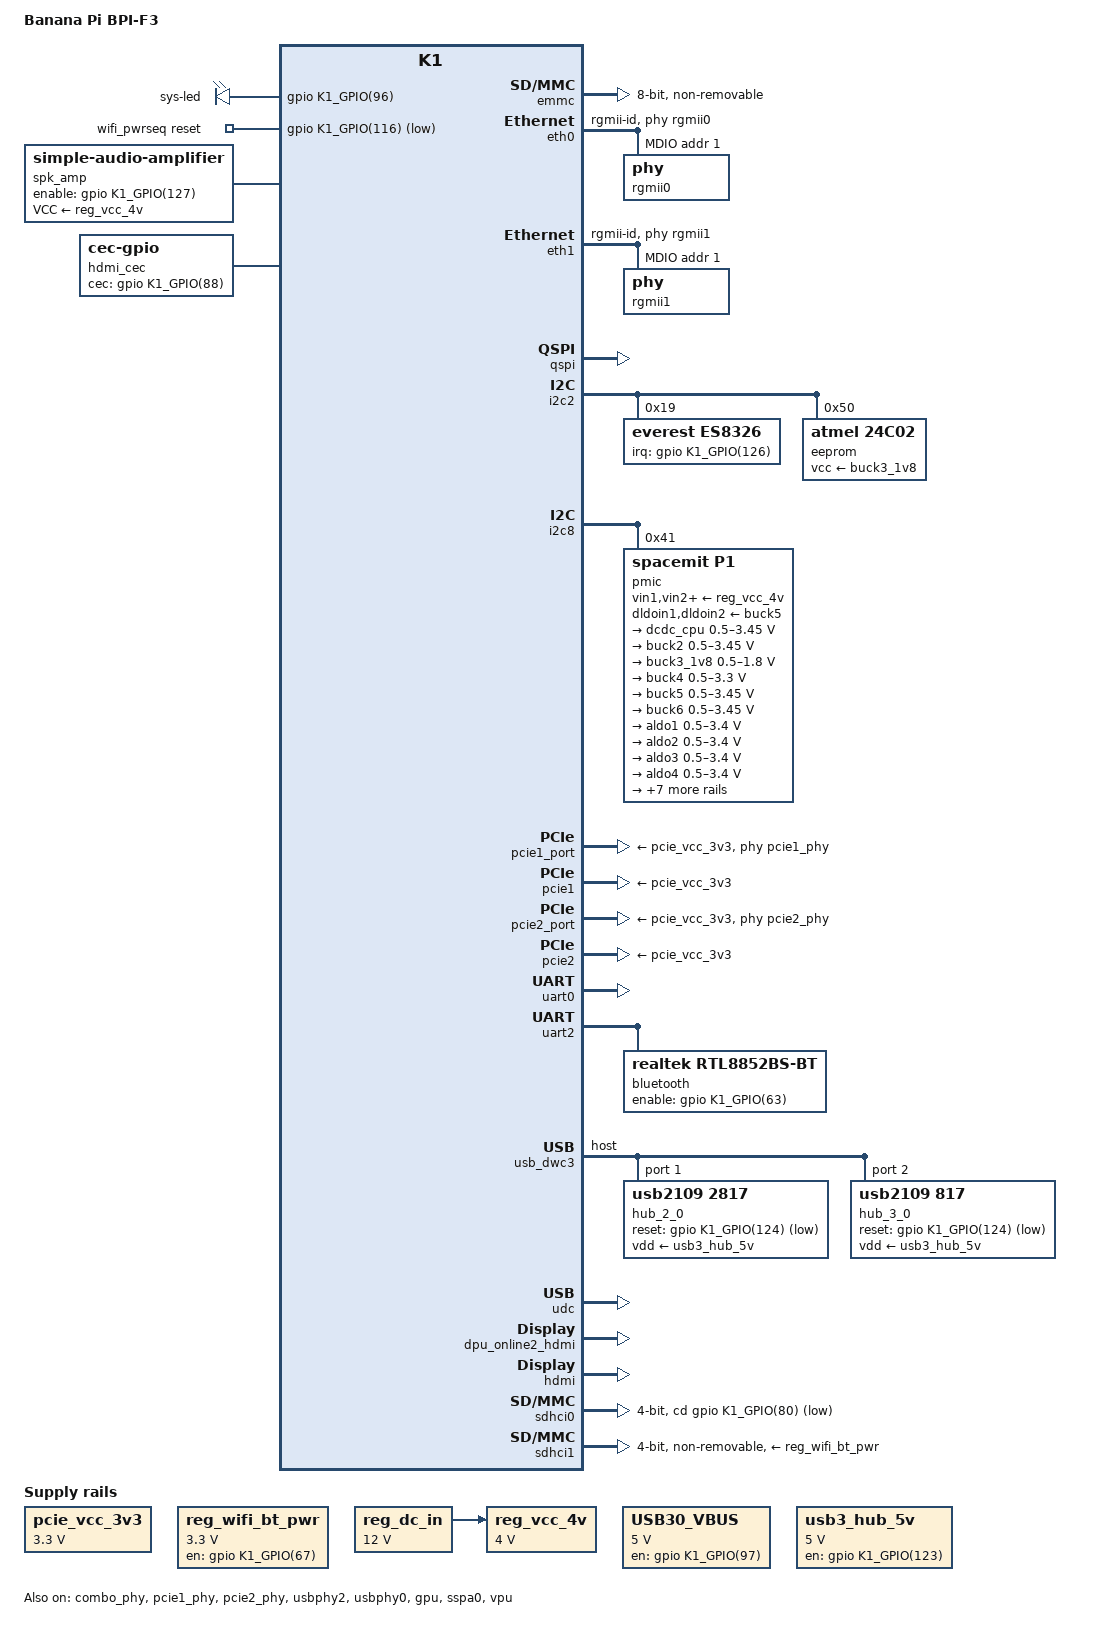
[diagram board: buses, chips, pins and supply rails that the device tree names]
// SPDX-License-Identifier: GPL-2.0 OR MIT
/*
 * Copyright (C) 2024 Yangyu Chen <cyy@cyyself.name>
 */

#include "k1.dtsi"
#include "k1-pinctrl.dtsi"
#include <dt-bindings/usb/spacemit-usb.h>

/ {
	model = "Banana Pi BPI-F3";
	compatible = "bananapi,bpi-f3", "spacemit,k1";

	aliases {
		ethernet0 = &eth0;
		ethernet1 = &eth1;
		serial0 = &uart0;
		i2c2 = &i2c2;
		i2c8 = &i2c8;
	};

	chosen {
		stdout-path = "serial0";
	};

	leds {
		compatible = "gpio-leds";

		led1 {
			label = "sys-led";
			gpios = <&gpio K1_GPIO(96) GPIO_ACTIVE_HIGH>;
			linux,default-trigger = "heartbeat";
			default-state = "on";
		};
	};

	pcie_vcc_3v3: regulator-pcie-vcc3v3 {
		compatible = "regulator-fixed";
		regulator-name = "PCIE_VCC3V3";
		regulator-min-microvolt = <3300000>;
		regulator-max-microvolt = <3300000>;
		regulator-always-on;
	};

	/* RTL8852BS supply switch (GPIO67) and Wi-Fi enable/reset (GPIO116). */
	reg_wifi_bt_pwr: regulator-wifi-bt-pwr {
		compatible = "regulator-fixed";
		regulator-name = "wifi_bt_pwr";
		regulator-min-microvolt = <3300000>;
		regulator-max-microvolt = <3300000>;
		gpios = <&gpio K1_GPIO(67) GPIO_ACTIVE_HIGH>;
		enable-active-high;
		startup-delay-us = <50000>;
	};

	wifi_pwrseq: wifi-pwrseq {
		compatible = "mmc-pwrseq-simple";
		reset-gpios = <&gpio K1_GPIO(116) GPIO_ACTIVE_LOW>;
		post-power-on-delay-ms = <100>;
		power-off-delay-us = <10000>;
	};

	reg_dc_in: regulator-dc-in-12v {
		compatible = "regulator-fixed";
		regulator-name = "dc_in_12v";
		regulator-min-microvolt = <12000000>;
		regulator-max-microvolt = <12000000>;
		regulator-boot-on;
		regulator-always-on;
	};

	reg_vcc_4v: regulator-vcc-4v {
		compatible = "regulator-fixed";
		regulator-name = "vcc_4v";
		regulator-min-microvolt = <4000000>;
		regulator-max-microvolt = <4000000>;
		regulator-boot-on;
		regulator-always-on;
		vin-supply = <&reg_dc_in>;
	};

	regulator-usb3-vbus-5v {
		compatible = "regulator-fixed";
		regulator-name = "USB30_VBUS";
		regulator-min-microvolt = <5000000>;
		regulator-max-microvolt = <5000000>;
		regulator-always-on;
		gpio = <&gpio K1_GPIO(97) GPIO_ACTIVE_HIGH>;
		enable-active-high;
	};

	usb3_hub_5v: regulator-usb3-hub-5v {
		compatible = "regulator-fixed";
		regulator-name = "USB30_HUB";
		regulator-min-microvolt = <5000000>;
		regulator-max-microvolt = <5000000>;
		gpio = <&gpio K1_GPIO(123) GPIO_ACTIVE_HIGH>;
		enable-active-high;
	};

	/* Restored from 6.19: CMA pool (GPU/camera/VPU DMA) + DPU reserved region */
	reserved-memory {
		#address-cells = <2>;
		#size-cells = <2>;
		ranges;

		linux,cma {
			compatible = "shared-dma-pool";
			alloc-ranges = <0 0x40000000 0 0x30000000>;
			size = <0 0x18000000>;
			alignment = <0x0 0x100000>;
			linux,cma-default;
			reusable;
		};

		dpu_resv: dpu_reserved@2ff40000 {
			compatible = "shared-dma-pool";
			reg = <0x0 0x2ff40000 0x0 0x000C0000>;
			no-map;
		};
	};

	/* Speaker amplifier on the ES8326 headphone output, enabled by GPIO127. */
	spk_amp: speaker-amplifier {
		compatible = "simple-audio-amplifier";
		sound-name-prefix = "Speaker Amp";
		enable-gpios = <&gpio K1_GPIO(127) GPIO_ACTIVE_HIGH>;
		VCC-supply = <&reg_vcc_4v>;
	};

	sound {
		compatible = "simple-audio-card";
		simple-audio-card,name = "BananaPi-F3-Audio";
		simple-audio-card,format = "i2s";
		simple-audio-card,mclk-fs = <256>;
		simple-audio-card,aux-devs = <&spk_amp>;
		simple-audio-card,widgets = "Speaker", "Speaker";
		simple-audio-card,routing =
			"Speaker Amp INL", "HPOL",
			"Speaker Amp INR", "HPOR",
			"Speaker", "Speaker Amp OUTL",
			"Speaker", "Speaker Amp OUTR";

		simple-audio-card,cpu {
			sound-dai = <&sspa0>;
		};

		simple-audio-card,codec {
			sound-dai = <&es8326>;
		};
	};
};

&combo_phy {
	status = "okay";
};

&emmc {
	bus-width = <8>;
	mmc-hs400-1_8v;
	mmc-hs400-enhanced-strobe;
	non-removable;
	no-sd;
	no-sdio;
	status = "okay";
};

&eth0 {
	phy-handle = <&rgmii0>;
	phy-mode = "rgmii-id";
	pinctrl-names = "default";
	pinctrl-0 = <&gmac0_cfg>;
	rx-internal-delay-ps = <0>;
	tx-internal-delay-ps = <0>;
	status = "okay";

	mdio-bus {
		#address-cells = <0x1>;
		#size-cells = <0x0>;

		reset-gpios = <&gpio K1_GPIO(110) GPIO_ACTIVE_LOW>;
		reset-delay-us = <10000>;
		reset-post-delay-us = <100000>;

		rgmii0: phy@1 {
			reg = <0x1>;
		};
	};
};

&eth1 {
	phy-handle = <&rgmii1>;
	phy-mode = "rgmii-id";
	pinctrl-names = "default";
	pinctrl-0 = <&gmac1_cfg>;
	rx-internal-delay-ps = <0>;
	tx-internal-delay-ps = <250>;
	status = "okay";

	mdio-bus {
		#address-cells = <0x1>;
		#size-cells = <0x0>;

		reset-gpios = <&gpio K1_GPIO(115) GPIO_ACTIVE_LOW>;
		reset-delay-us = <10000>;
		reset-post-delay-us = <100000>;

		rgmii1: phy@1 {
			reg = <0x1>;
		};
	};
};

&pdma {
	status = "okay";
};

&qspi {
	pinctrl-names = "default";
	pinctrl-0 = <&qspi_cfg>;
	status = "okay";
};

&i2c2 {
	pinctrl-0 = <&i2c2_0_cfg>;
	pinctrl-names = "default";
	status = "okay";

	es8326: es8326@19 {
		compatible = "everest,es8326";
		reg = <0x19>;
		clocks = <&syscon_mpmu CLK_I2S_SYSCLK>;
		clock-names = "mclk";
		interrupt-parent = <&gpio>;
		interrupts = <K1_GPIO(126) 1>;
		#sound-dai-cells = <0>;
		/* Self-powered on-board mics: a slow ADC ramp avoids the start-up pop. */
		everest,adc-ramp-rate = /bits/ 8 <4>;
		/* +18 dB digital mic gain: 0 dB recorded speech far too quietly */
		everest,adc-pga-volume = /bits/ 8 <3>;
	};

	eeprom@50 {
		compatible = "atmel,24c02";
		reg = <0x50>;
		vcc-supply = <&buck3_1v8>; /* EEPROM_VCC1V8 */
		pagesize = <16>;
		read-only;
		size = <256>;

		nvmem-layout {
			compatible = "onie,tlv-layout";

			mac-address {
				#nvmem-cell-cells = <1>;
			};

			num-macs {
			};

			serial-number {
			};
		};
	};
};

&i2c8 {
	pinctrl-0 = <&i2c8_cfg>;
	pinctrl-names = "default";
	status = "okay";

	pmic@41 {
		compatible = "spacemit,p1";
		reg = <0x41>;
		interrupts = <64>;
		vin1-supply = <&reg_vcc_4v>;
		vin2-supply = <&reg_vcc_4v>;
		vin3-supply = <&reg_vcc_4v>;
		vin4-supply = <&reg_vcc_4v>;
		vin5-supply = <&reg_vcc_4v>;
		vin6-supply = <&reg_vcc_4v>;
		aldoin-supply = <&reg_vcc_4v>;
		dldoin1-supply = <&buck5>;
		dldoin2-supply = <&buck5>;

		regulators {
			dcdc_cpu: buck1 {
				regulator-min-microvolt = <500000>;
				regulator-max-microvolt = <3450000>;
				regulator-ramp-delay = <5000>;
				regulator-always-on;
			};

			buck2 {
				regulator-min-microvolt = <500000>;
				regulator-max-microvolt = <3450000>;
				regulator-ramp-delay = <5000>;
				regulator-always-on;
			};

			buck3_1v8: buck3 {
				regulator-min-microvolt = <500000>;
				regulator-max-microvolt = <1800000>;
				regulator-ramp-delay = <5000>;
				regulator-always-on;
			};

			buck4 {
				regulator-min-microvolt = <500000>;
				regulator-max-microvolt = <3300000>;
				regulator-ramp-delay = <5000>;
				regulator-always-on;
			};

			buck5: buck5 {
				regulator-min-microvolt = <500000>;
				regulator-max-microvolt = <3450000>;
				regulator-ramp-delay = <5000>;
				regulator-always-on;
			};

			buck6 {
				regulator-min-microvolt = <500000>;
				regulator-max-microvolt = <3450000>;
				regulator-ramp-delay = <5000>;
				regulator-always-on;
			};

			aldo1 {
				regulator-min-microvolt = <500000>;
				regulator-max-microvolt = <3400000>;
				regulator-boot-on;
			};

			aldo2 {
				regulator-min-microvolt = <500000>;
				regulator-max-microvolt = <3400000>;
			};

			aldo3 {
				regulator-min-microvolt = <500000>;
				regulator-max-microvolt = <3400000>;
			};

			aldo4 {
				regulator-min-microvolt = <500000>;
				regulator-max-microvolt = <3400000>;
			};

			dldo1 {
				regulator-min-microvolt = <500000>;
				regulator-max-microvolt = <3400000>;
				regulator-boot-on;
			};

			dldo2 {
				regulator-min-microvolt = <500000>;
				regulator-max-microvolt = <3400000>;
			};

			dldo3 {
				regulator-min-microvolt = <500000>;
				regulator-max-microvolt = <3400000>;
			};

			dldo4 {
				regulator-min-microvolt = <500000>;
				regulator-max-microvolt = <3400000>;
				regulator-always-on;
			};

			dldo5 {
				regulator-min-microvolt = <500000>;
				regulator-max-microvolt = <3400000>;
			};

			dldo6 {
				regulator-min-microvolt = <500000>;
				regulator-max-microvolt = <3400000>;
				regulator-always-on;
			};

			dldo7 {
				regulator-min-microvolt = <500000>;
				regulator-max-microvolt = <3400000>;
			};
		};
	};
};

&pcie1_phy {
	pinctrl-names = "default";
	pinctrl-0 = <&pcie1_3_cfg>;
	status = "okay";
};

&pcie1_port {
	phys = <&pcie1_phy>;
	vpcie3v3-supply = <&pcie_vcc_3v3>;
};

&pcie1 {
	vpcie3v3-supply = <&pcie_vcc_3v3>;
	status = "okay";
};

&pcie2_phy {
	pinctrl-names = "default";
	pinctrl-0 = <&pcie2_4_cfg>;
	status = "okay";
};

&pcie2_port {
	phys = <&pcie2_phy>;
	vpcie3v3-supply = <&pcie_vcc_3v3>;
};

&pcie2 {
	vpcie3v3-supply = <&pcie_vcc_3v3>;
	status = "okay";
};

&uart0 {
	pinctrl-names = "default";
	pinctrl-0 = <&uart0_2_cfg>;
	status = "okay";
};

/* RTL8852BS Bluetooth (H5 over UART with hardware flow control) */
&uart2 {
	/* Nothing sets this UART clock before Linux: use the 48 MHz slow_uart2 source,
	 * which also divides to the RTL8852B's 1.5/3 Mbaud. */
	assigned-clocks = <&syscon_mpmu CLK_SLOW_UART2>, <&syscon_apbc CLK_UART2>;
	assigned-clock-parents = <0>, <&syscon_mpmu CLK_SLOW_UART2>;
	assigned-clock-rates = <48000000>, <0>;
	pinctrl-names = "default";
	pinctrl-0 = <&uart2_0_cfg>, <&uart2_0_cts_rts_cfg>;
	uart-has-rtscts;
	status = "okay";

	bluetooth {
		compatible = "realtek,rtl8852bs-bt";
		enable-gpios = <&gpio K1_GPIO(63) GPIO_ACTIVE_HIGH>;
	};
};

&usbphy2 {
	status = "okay";
};

&usb_dwc3 {
	dr_mode = "host";
	#address-cells = <1>;
	#size-cells = <0>;
	status = "okay";

	hub_2_0: hub@1 {
		compatible = "usb2109,2817";
		reg = <0x1>;
		vdd-supply = <&usb3_hub_5v>;
		peer-hub = <&hub_3_0>;
		reset-gpios = <&gpio K1_GPIO(124) GPIO_ACTIVE_LOW>;
	};

	hub_3_0: hub@2 {
		compatible = "usb2109,817";
		reg = <0x2>;
		vdd-supply = <&usb3_hub_5v>;
		peer-hub = <&hub_2_0>;
		reset-gpios = <&gpio K1_GPIO(124) GPIO_ACTIVE_LOW>;
	};
};

/* USB2 OTG controller (USB-C port) in peripheral mode = the adb gadget.
 * The android-mainline migration kept the ChipIdea mv-udc driver but dropped
 * its DT nodes; device/spacemit/k1/init.k1.usb.rc already expects c0900100.udc.
 */
&usbphy0 {
	status = "okay";
};

&udc {
	spacemit,udc-mode = <MV_USB_MODE_UDC>;
	status = "okay";
};

/* GPU (Imagination PowerVR Rogue) — node dropped by the android-mainline DTS
 * migration; the powervr.ko + rogue firmware are present but had no device to
 * bind, so no /dev/dri and SurfaceFlinger failed (vkEnumeratePhysicalDevices).
 * Restored from the working 6.19 android DTS (compatible img,img-rogue).
 */
&gpu {
	status = "okay";
};

/* HDMI display pipeline — restored from the 6.19 DTS. The DPU fetches
 * framebuffers from the dpu_resv pool; the HDMI controller needs its DDC/CEC/HPD
 * pins. The saturn-hdmi master is enabled in k1.dtsi.
 */
&dpu_online2_hdmi {
	memory-region = <&dpu_resv>;
	status = "okay";
};

&hdmi {
	pinctrl-names = "default";
	pinctrl-0 = <&hdmi_0_nocec_cfg>;
	status = "okay";
};

/* HDMI-CEC on GPIO_88 with cec-gpio (no driver for the HDMI controller's CEC block). */
&pinctrl {
	hdmi_0_nocec_cfg: hdmi-0-nocec-cfg {
		hdmi-scl-sda-pins {
			pinmux = <K1_PADCONF(86, 1)>,	/* hdmi_tx_hscl */
				 <K1_PADCONF(87, 1)>;	/* hdmi_tx_hsda */
			bias-pull-up = <0>;
			drive-strength = <21>;
		};

		hdmi-hpd-pins {
			pinmux = <K1_PADCONF(89, 1)>;	/* hdmi_tx_pdp */
			bias-pull-down;
			drive-strength = <21>;
		};
	};

	hdmi_cec_gpio_cfg: hdmi-cec-gpio-cfg {
		hdmi-cec-pins {
			pinmux = <K1_PADCONF(88, 0)>;	/* GPIO_88 as GPIO */
			bias-disable;
			drive-strength = <21>;
		};
	};
};

/ {
	hdmi_cec: hdmi-cec {
		compatible = "cec-gpio";
		pinctrl-names = "default";
		pinctrl-0 = <&hdmi_cec_gpio_cfg>;
		cec-gpios = <&gpio K1_GPIO(88) (GPIO_ACTIVE_HIGH | GPIO_OPEN_DRAIN)>;
		hdmi-phandle = <&hdmi>;
	};
};

&sspa0 {
	pinctrl-names = "default";
	pinctrl-0 = <&sspa0_0_cfg>;
	status = "okay";
};

&vpu {
	status = "okay";
};

/* CPU DVFS (cpufreq) restored from the 6.19 DTS. cpufreq-dt-platdev creates the
 * cpufreq device because cpu@0 carries operating-points-v2; spacemit-cpufreq
 * augments it (needs the "clst" regulator + "cls0" clock). Without this the CPU
 * is pinned at the boot frequency — the main "felt slower than 6.19" regression
 * and a prerequisite for a valid perf A/B.
 */
&{/cpus} {
	clst_core_opp_table0: opp-table-0 {
		compatible = "operating-points-v2";
		opp-shared;

		opp-1800000000 {
			opp-hz = /bits/ 64 <1800000000>;
			opp-microvolt = <1100000>;
			clock-latency-ns = <200000>;
		};
		opp-1600000000 {
			opp-hz = /bits/ 64 <1600000000>;
			opp-microvolt = <1050000>;
			clock-latency-ns = <200000>;
		};
		opp-1228800000 {
			opp-hz = /bits/ 64 <1228800000>;
			opp-microvolt = <950000>;
			clock-latency-ns = <200000>;
		};
		opp-1000000000 {
			opp-hz = /bits/ 64 <1000000000>;
			opp-microvolt = <950000>;
			clock-latency-ns = <200000>;
		};
		opp-819000000 {
			opp-hz = /bits/ 64 <819000000>;
			opp-microvolt = <950000>;
			clock-latency-ns = <200000>;
		};
		opp-614400000 {
			opp-hz = /bits/ 64 <614400000>;
			opp-microvolt = <950000>;
			clock-latency-ns = <200000>;
		};
	};
};

&cpu_0 {
	clst-supply = <&dcdc_cpu>;
	clocks = <&syscon_apmu CLK_CPU_C0_CORE>;
	clock-names = "cls0";
	operating-points-v2 = <&clst_core_opp_table0>;
	#cooling-cells = <2>;
};

&cpu_1 {
	clst-supply = <&dcdc_cpu>;
	clocks = <&syscon_apmu CLK_CPU_C0_CORE>;
	clock-names = "cls0";
	operating-points-v2 = <&clst_core_opp_table0>;
};

&cpu_2 {
	clst-supply = <&dcdc_cpu>;
	clocks = <&syscon_apmu CLK_CPU_C0_CORE>;
	clock-names = "cls0";
	operating-points-v2 = <&clst_core_opp_table0>;
};

&cpu_3 {
	clst-supply = <&dcdc_cpu>;
	clocks = <&syscon_apmu CLK_CPU_C0_CORE>;
	clock-names = "cls0";
	operating-points-v2 = <&clst_core_opp_table0>;
};

&cpu_4 {
	clst-supply = <&dcdc_cpu>;
	clocks = <&syscon_apmu CLK_CPU_C0_CORE>;
	clock-names = "cls0";
	operating-points-v2 = <&clst_core_opp_table0>;
};

&cpu_5 {
	clst-supply = <&dcdc_cpu>;
	clocks = <&syscon_apmu CLK_CPU_C0_CORE>;
	clock-names = "cls0";
	operating-points-v2 = <&clst_core_opp_table0>;
};

&cpu_6 {
	clst-supply = <&dcdc_cpu>;
	clocks = <&syscon_apmu CLK_CPU_C0_CORE>;
	clock-names = "cls0";
	operating-points-v2 = <&clst_core_opp_table0>;
};

&cpu_7 {
	clst-supply = <&dcdc_cpu>;
	clocks = <&syscon_apmu CLK_CPU_C0_CORE>;
	clock-names = "cls0";
	operating-points-v2 = <&clst_core_opp_table0>;
};

/* microSD slot (sdhci0) restored from 6.19 — base node in k1.dtsi was left
 * disabled by the migration. */
&sdhci0 {
	pinctrl-names = "default";
	pinctrl-0 = <&mmc1_cfg>;
	bus-width = <4>;
	cd-gpios = <&gpio K1_GPIO(80) GPIO_ACTIVE_LOW>;
	no-mmc;
	no-sdio;
	status = "okay";
};

/* RTL8852BS Wi-Fi (SDIO), powered through the pwrseq; out-of-tree rtl8852bs driver. */
&sdhci1 {
	pinctrl-names = "default";
	pinctrl-0 = <&mmc2_cfg>;
	bus-width = <4>;
	/* Bring-up: below 100MHz the driver's (untested for SDIO) RX tuning is
	 * skipped. Raise once the link is known good. */
	max-frequency = <50000000>;
	non-removable;
	no-mmc;
	no-sd;
	cap-sdio-irq;
	keep-power-in-suspend;
	mmc-pwrseq = <&wifi_pwrseq>;
	vmmc-supply = <&reg_wifi_bt_pwr>;
	vqmmc-supply = <&buck3_1v8>;
	status = "okay";
};

/* Thermal zones restored from 6.19. The k1x-tsensor driver registers one zone
 * per sensor in &thermal's sensor_range (<2 3>) IN ORDER, so gpu (sensor 2) =
 * thermal_zone0 and cpu cluster0 (sensor 3) = thermal_zone1 — the numbering the
 * profiling harness expects (lib/common.sh). No cooling-maps on purpose: active
 * throttling would fight the fixed-frequency pin used during benchmarking; these
 * zones only expose readable temps (for the harness inter-suite cooldown) plus a
 * high critical safety trip.
 */
/ {
	thermal-zones {
		gpu-thermal {
			polling-delay = <1000>;
			polling-delay-passive = <500>;
			thermal-sensors = <&thermal 2>;

			trips {
				gpu_crit: gpu-crit {
					temperature = <110000>;
					hysteresis = <2000>;
					type = "critical";
				};
			};
		};

		cpu-thermal {
			polling-delay = <1000>;
			polling-delay-passive = <500>;
			thermal-sensors = <&thermal 3>;

			trips {
				cpu_crit: cpu-crit {
					temperature = <110000>;
					hysteresis = <2000>;
					type = "critical";
				};
			};
		};
	};
};
